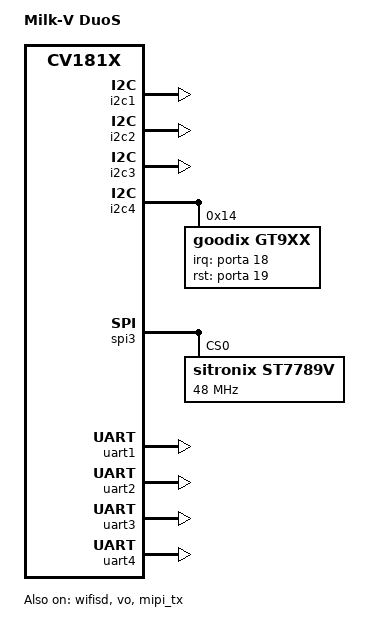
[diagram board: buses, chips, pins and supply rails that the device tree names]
/dts-v1/;
#include "cv181x_base_riscv.dtsi"
#include "cv181x_asic_bga.dtsi"
#include "cv181x_asic_emmc.dtsi"
#include "cv181x_default_memmap.dtsi"

&mipi_rx{
	snsr-reset = <&porta 2 GPIO_ACTIVE_LOW>, <&porta 2 GPIO_ACTIVE_LOW>, <&porta 2 GPIO_ACTIVE_LOW>;
};

&dac{
	/delete-property/ mute-gpio-l;
	/delete-property/ mute-gpio-r;
};

&i2c0 {
	status = "disabled";
};

&i2c1 {
	status = "okay";
};

&i2c2 {
	status = "okay";
};

&i2c3 {
	status = "okay";
};

&i2c4 {
	status = "okay";

	gt9xx: gt9xx@14 {
		compatible = "goodix,gt9xx";
		reg = <0x14>;
		goodix,irq-gpio = <&porta 18 0>;
		goodix,rst-gpio = <&porta 19 GPIO_ACTIVE_HIGH>;
		status = "okay";
	};
};

&spi3 {
	status = "okay";
	/delete-node/ spidev@0;

	st7789v: st7789v@0{
		compatible = "sitronix,st7789v";
		reg = <0>;
		status = "okay";
		spi-max-frequency = <48000000>;
		spi-cpol;
		spi-cpha;
		rotate = <0>;
		fps = <60>;
		rgb;
		buswidth = <8>;

		dc = <&porta 18 GPIO_ACTIVE_HIGH>;
		reset = <&porta 28 GPIO_ACTIVE_HIGH>;

		debug = <0x0>;
	};
};

&usb {
	vbus-gpio = <&portb 6 0>;
};

&wifisd {
	status = "okay";
	cap-sd-highspeed;
	sd-uhs-sdr25;
	sd-uhs-ddr50;
	sd-uhs-sdr104;
	min-frequency = <400000>;
	max-frequency = <187500000>;
};

&wifi_pin {
	compatible = "cvitek,wifi-pin";
	poweron-gpio = <&porta 15 GPIO_ACTIVE_HIGH>;
	wakeup-gpio = <&porte 7 GPIO_ACTIVE_HIGH>;
};

&uart1 {
	status = "okay";
};

&uart2 {
	status = "okay";
};

&uart3 {
	status = "okay";
};

&uart4 {
	status = "okay";
};

/* mipi dsi for u-boot */
&vo {
	compatible = "cvitek,vo";
	reset-gpio = <&porte 2 GPIO_ACTIVE_LOW>;
	pwm-gpio = <&porte 0 GPIO_ACTIVE_HIGH>;
	power-gpio = <&porte 1 GPIO_ACTIVE_HIGH>;
	status = "okay";
};

/* mipi dsi for kernel */
&mipi_tx {
	compatible = "cvitek,mipi_tx";
	reset-gpio = <&porte 2 GPIO_ACTIVE_LOW>;
	pwm-gpio = <&porte 0 GPIO_ACTIVE_HIGH>;
	power-ct-gpio = <&porte 1 GPIO_ACTIVE_HIGH>;
	status = "okay";
};

/ {
	model = "Milk-V DuoS";
};

